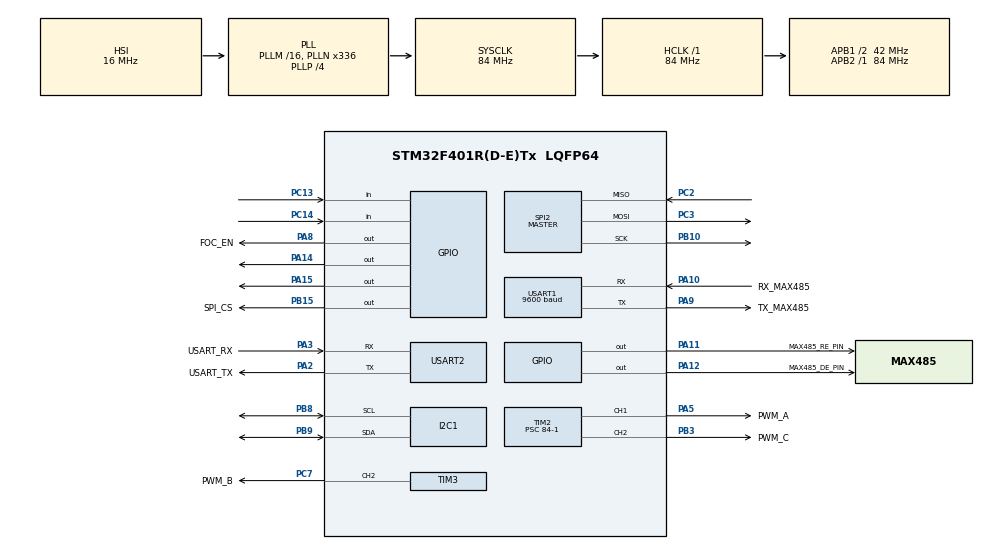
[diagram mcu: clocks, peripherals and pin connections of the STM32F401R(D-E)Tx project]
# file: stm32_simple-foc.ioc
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Mcu.Family=STM32F4
Mcu.Name=STM32F401R(D-E)Tx
Mcu.Package=LQFP64
NVIC.PriorityGroup=NVIC_PRIORITYGROUP_4
NVIC.TIM4_IRQn=true\:0\:0\:false\:false\:true\:true\:true\:true
NVIC.USART1_IRQn=true\:0\:0\:false\:false\:true\:true\:true\:true
PA10.GPIO_Label=RX_MAX485
PA10.Mode=Asynchronous
PA10.Signal=USART1_RX
PA11.GPIO_Label=MAX485_RE_PIN
PA11.Signal=GPIO_Output
PA12.GPIO_Label=MAX485_DE_PIN
PA12.Signal=GPIO_Output
PA14.Signal=GPIO_Output
PA15.Signal=GPIO_Output
PA2.GPIO_Label=USART_TX
PA2.GPIO_Mode=GPIO_MODE_AF_PP
PA2.GPIO_PuPd=GPIO_NOPULL
PA2.GPIO_Speed=GPIO_SPEED_FREQ_LOW
PA2.Mode=Asynchronous
PA2.Signal=USART2_TX
PA3.GPIO_Label=USART_RX
PA3.GPIO_Mode=GPIO_MODE_AF_PP
PA3.GPIO_PuPd=GPIO_NOPULL
PA3.GPIO_Speed=GPIO_SPEED_FREQ_LOW
PA3.Mode=Asynchronous
PA3.Signal=USART2_RX
PA5.GPIO_Label=PWM_A
PA5.Signal=S_TIM2_CH1_ETR
PA8.GPIO_Label=FOC_EN
PA8.Signal=GPIO_Output
PA9.GPIO_Label=TX_MAX485
PA9.Mode=Asynchronous
PA9.Signal=USART1_TX
PB10.Mode=Full_Duplex_Master
PB10.Signal=SPI2_SCK
PB15.GPIO_Label=SPI_CS
PB15.PinState=GPIO_PIN_SET
PB15.Signal=GPIO_Output
PB3.GPIO_Label=PWM_C
PB3.Signal=S_TIM2_CH2
PB8.Mode=I2C
PB8.Signal=I2C1_SCL
PB9.Mode=I2C
PB9.Signal=I2C1_SDA
PC13-ANTI_TAMP.GPIO_PuPd=GPIO_PULLUP
PC13-ANTI_TAMP.Signal=GPIO_Input
PC14-OSC32_IN.Signal=GPIO_Input
PC15-OSC32_OUT.Signal=RCC_OSC32_OUT
PC2.Mode=Full_Duplex_Master
PC2.Signal=SPI2_MISO
PC3.Mode=Full_Duplex_Master
PC3.Signal=SPI2_MOSI
PC7.GPIO_Label=PWM_B
PC7.Signal=S_TIM3_CH2
PH0\ -\ OSC_IN.Mode=HSE-External-Clock-Source
PH0\ -\ OSC_IN.Signal=RCC_OSC_IN
PH1\ -\ OSC_OUT.Mode=HSE-External-Clock-Source
PH1\ -\ OSC_OUT.Signal=RCC_OSC_OUT
ProjectManager.HeapSize=0x200
ProjectManager.StackSize=0x400
ProjectManager.TargetToolchain=STM32CubeIDE
RCC.48MHZClocksFreq_Value=48000000
RCC.AHBFreq_Value=84000000
RCC.APB1CLKDivider=RCC_HCLK_DIV2
RCC.APB1Freq_Value=42000000
RCC.APB1TimFreq_Value=84000000
RCC.APB2Freq_Value=84000000
RCC.APB2TimFreq_Value=84000000
RCC.CortexFreq_Value=84000000
RCC.HCLKFreq_Value=84000000
RCC.HSE_VALUE=8000000
RCC.HSI_VALUE=16000000
RCC.LSE_VALUE=32768
RCC.PLLN=336
RCC.PLLP=RCC_PLLP_DIV4
RCC.PLLQ=7
RCC.SYSCLKFreq_VALUE=84000000
RCC.SYSCLKSource=RCC_SYSCLKSOURCE_PLLCLK
RCC.VCOOutputFreq_Value=336000000
SH.S_TIM2_CH1_ETR.0=TIM2_CH1,PWM Generation1 CH1
SH.S_TIM2_CH2.0=TIM2_CH2,PWM Generation2 CH2
SH.S_TIM3_CH2.0=TIM3_CH2,PWM Generation2 CH2
SPI2.CLKPhase=SPI_PHASE_2EDGE
SPI2.DataSize=SPI_DATASIZE_16BIT
SPI2.Direction=SPI_DIRECTION_2LINES
SPI2.Mode=SPI_MODE_MASTER
SPI2.VirtualType=VM_MASTER
TIM1.Period=0xffff-1
TIM1.Prescaler=84-1
TIM2.Channel-PWM\ Generation1\ CH1=TIM_CHANNEL_1
TIM2.Channel-PWM\ Generation2\ CH2=TIM_CHANNEL_2
TIM2.CounterMode=TIM_COUNTERMODE_UP
TIM2.Period=40-1
TIM2.Prescaler=84-1
TIM3.Channel-PWM\ Generation2\ CH2=TIM_CHANNEL_2
TIM3.CounterMode=TIM_COUNTERMODE_UP
TIM3.Period=40-1
TIM3.Prescaler=84-1
TIM4.Period=400-1
TIM4.Prescaler=84-1
USART1.BaudRate=9600
USART1.VirtualMode=VM_ASYNC
USART2.VirtualMode=VM_ASYNC
VP_TIM1_VS_ClockSourceINT.Mode=Internal
VP_TIM2_VS_ClockSourceINT.Mode=Internal
VP_TIM3_VS_ClockSourceINT.Mode=Internal
VP_TIM4_VS_ClockSourceINT.Mode=Internal
board=NUCLEO-F401RE

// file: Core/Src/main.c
/* USER CODE BEGIN Header */
/**
  ******************************************************************************
  * @file           : main.c
  * @brief          : Main program body
  ******************************************************************************
  * @attention
  *
  * Copyright (c) 2025 STMicroelectronics.
  * All rights reserved.
  *
  * This software is licensed under terms that can be found in the LICENSE file
  * in the root directory of this software component.
  * If no LICENSE file comes with this software, it is provided AS-IS.
  *
  ******************************************************************************
  */
/* USER CODE END Header */
#include "main.h"

/* USER CODE BEGIN Includes */
#include "bldc_driver.h"
#include "bldc_motor.h"
#include "as5048a.h"
#include "ssd1306.h"
#include "ssd1306_fonts.h"

#include <stdio.h>
#include <string.h>
#include <stdbool.h>
/* USER CODE END Includes */

/* USER CODE BEGIN PD */
unsigned long timer_counter = 0;
float speed;
/* USER CODE END PD */

I2C_HandleTypeDef hi2c1;

SPI_HandleTypeDef hspi2;

TIM_HandleTypeDef htim1;
TIM_HandleTypeDef htim2;
TIM_HandleTypeDef htim3;
TIM_HandleTypeDef htim4;

UART_HandleTypeDef huart1;
UART_HandleTypeDef huart2;

/* USER CODE BEGIN PV */

char uart_buffer[128];
float p;
uint8_t RxData[8];
uint8_t TxData[8];
uint16_t data;
char dta[100];
char s[100];
char v[100];
float step = 1.0;
float f_spd;

bool is_stopping = false;
/* USER CODE END PV */

void SystemClock_Config(void);
static void MX_GPIO_Init(void);
static void MX_USART2_UART_Init(void);
static void MX_TIM2_Init(void);
static void MX_TIM3_Init(void);
static void MX_SPI2_Init(void);
static void MX_TIM4_Init(void);
static void MX_TIM1_Init(void);
static void MX_I2C1_Init(void);
static void MX_USART1_UART_Init(void);

/* USER CODE BEGIN 0 */
int ButtonPressed(GPIO_TypeDef* GPIOx, uint16_t GPIO_Pin) {
   if (HAL_GPIO_ReadPin(GPIOx, GPIO_Pin) == GPIO_PIN_RESET) {
       HAL_Delay(50);
       if (HAL_GPIO_ReadPin(GPIOx, GPIO_Pin) == GPIO_PIN_RESET) {
           return 1;
       }
   }
   return 0;
}

void MAX485_EnableTransmit(){
	HAL_GPIO_WritePin(MAX485_DE_PIN_GPIO_Port,MAX485_DE_PIN_Pin, GPIO_PIN_SET);
	HAL_GPIO_WritePin(MAX485_RE_PIN_GPIO_Port,MAX485_RE_PIN_Pin, GPIO_PIN_SET);
}

void MAX485_EnableRecieve(){
	HAL_GPIO_WritePin(MAX485_DE_PIN_GPIO_Port,MAX485_DE_PIN_Pin, GPIO_PIN_RESET);
	HAL_GPIO_WritePin(MAX485_RE_PIN_GPIO_Port,MAX485_RE_PIN_Pin, GPIO_PIN_RESET);
}

void HAL_UARTEx_RxEventCallback(UART_HandleTypeDef *huart, uint16_t Size) {
            memcpy(TxData, RxData, Size);
            MAX485_EnableTransmit();
            HAL_UART_Transmit_IT(&huart1, TxData,8);

            data = RxData[4] << 8 | RxData[5];
    }

void HAL_UART_TxCpltCallback(UART_HandleTypeDef *huart) {
    if (huart->Instance == USART1) {
        MAX485_EnableRecieve();
        HAL_UARTEx_ReceiveToIdle_IT(&huart1, RxData, sizeof(RxData));
    }
}

/* USER CODE END 0 */

int main(void)
{

  /* MCU Configuration--------------------------------------------------------*/

  /* Reset of all peripherals, Initializes the Flash interface and the Systick. */
  HAL_Init();

  /* Configure the system clock */
  SystemClock_Config();

  /* Initialize all configured peripherals */
  MX_GPIO_Init();
  MX_USART2_UART_Init();
  MX_TIM2_Init();
  MX_TIM3_Init();
  MX_SPI2_Init();
  MX_TIM4_Init();
  MX_TIM1_Init();
  MX_I2C1_Init();
  MX_USART1_UART_Init();
  /* USER CODE BEGIN 2 */
  	  MAX485_EnableRecieve();
  	  HAL_UARTEx_ReceiveToIdle_IT(&huart1, RxData, 8);
	  ssd1306_Init();
	  ssd1306_Fill(Black);

  /* Magnetic encoder initialize.
   *
   * Parameters:
   * - SPI instance.
   * - SPI CS GPIO port.
   * - SPI CS GPIO pin.
   */

  as5048a_init(&hspi2, SPI_CS_GPIO_Port, SPI_CS_Pin);

  /* BLDC driver initialize.
   *
   * Parameters:
   * - Phrase A timer instance.
   * - Phrase A timer channel.
   * - Phrase B timer instance.
   * - Phrase B timer channel.
   * - Phrase C timer instance.
   * - Phrase C timer channel.
   * - FOC enable GPIO port.
   * - FOC enable GPIO pin.
   * - Voltage supply for driver.
   * - Voltage limit for driver (Use half of the supply voltage for open-loop
   *   control).
   */

  driver_init(&htim2,
              TIM_CHANNEL_1,
              &htim3,
              TIM_CHANNEL_2,
              &htim2,
              TIM_CHANNEL_2,
              FOC_EN_GPIO_Port,
              FOC_EN_Pin,
              20.0f,
              20.0f);

  /* Open-loop BLDC motor control initialize.
   *
   * Parameters:
   * - Pole pairs.
   * - Motor voltage limit (Should be half of the driver voltage limit).
   */

bldc_open_loop_init(7, 10.0f);

  /* Closed-loop BLDC motor velocity control initialize.
   *
   * Parameters:
   * - Pole pairs.
   * - Sensor aligning phrase voltage limit.
   * - Sensor aligning phrase time.
   * - Low pass filter structure.
   * - PID control structure
   * - Motor voltage limit.
//	*/
//  bldc_vel_ctrl_init(7,
//                     5.0f,
//                     5.0f,
//                     (struct lpf_s){.tf = 0.00001f},
//                     (struct pid_s){
//                       .p = 5.0f,
//                       .i = 0.0f,
//                       .d = 0.0f,
//                       .ramp = 3000.0f,
//                       .limit = 20.0f
//                     },
//                     20);

  /* Target speed. */

//  speed = 20.0f;

  /* Initialize FOC. */

  foc_init();

  /* Start timers. */

  HAL_TIM_Base_Start(&htim1);
  HAL_TIM_Base_Start_IT(&htim4);

  /* USER CODE END 2 */

  /* Infinite loop */
  /* USER CODE BEGIN WHILE */
  while (1)
{

	  if (is_stopping) {
		  ssd1306_Fill(Black);
		  ssd1306_SetCursor(10,10);
		  ssd1306_WriteString("EMERGENCY" , Font_11x18, White);
		  ssd1306_SetCursor(10,40);
		  ssd1306_WriteString("STOP" , Font_11x18, White);
		  ssd1306_UpdateScreen();
	  }

	  else {
		  	ssd1306_Fill(Black);
			sprintf(v , "VEL: %.2f rad/s" , get_vel());
			sprintf(s , "ANG: %.2f rad", get_angle());
			sprintf(dta, "VEL_TARGET: %d" , data);
			ssd1306_SetCursor(10,10);
			ssd1306_WriteString(s , Font_7x10, White);
			ssd1306_SetCursor(10,30);
			ssd1306_WriteString(v, Font_7x10, White);
			ssd1306_SetCursor(10,50);
			ssd1306_WriteString(dta, Font_7x10, White);
			ssd1306_UpdateScreen();
	  }

      f_spd = (float) data;

      if (ButtonPressed(GPIOC, GPIO_PIN_13)) {
    	  speed = 0.0f;
    	  is_stopping = !is_stopping;
    	  HAL_GPIO_WritePin(GPIOA, GPIO_PIN_13, GPIO_PIN_RESET);
    	  HAL_GPIO_WritePin(GPIOA, GPIO_PIN_14, GPIO_PIN_RESET);
      }

	  while (speed != f_spd && !is_stopping) {

	      if (speed < f_spd) {

	          speed += step;
	          HAL_GPIO_TogglePin(GPIOA, GPIO_PIN_15);

	          if (speed > f_spd)
	        	  speed = f_spd;

	      }

	      else if (speed > f_spd) {

	          speed -= step;
	          HAL_GPIO_TogglePin(GPIOA, GPIO_PIN_14);

	          if (speed < data)
	        	  speed = f_spd;

	      }

	      HAL_Delay(100);
	  }

      HAL_GPIO_WritePin(GPIOA, GPIO_PIN_13, GPIO_PIN_RESET);
      HAL_GPIO_WritePin(GPIOA, GPIO_PIN_14, GPIO_PIN_RESET);

    /* USER CODE END WHILE */

  }
}

void SystemClock_Config(void)
{
  RCC_OscInitTypeDef RCC_OscInitStruct = {0};
  RCC_ClkInitTypeDef RCC_ClkInitStruct = {0};

  /** Configure the main internal regulator output voltage
  */
  __HAL_RCC_PWR_CLK_ENABLE();
  __HAL_PWR_VOLTAGESCALING_CONFIG(PWR_REGULATOR_VOLTAGE_SCALE2);

  /** Initializes the RCC Oscillators according to the specified parameters
  * in the RCC_OscInitTypeDef structure.
  */
  RCC_OscInitStruct.OscillatorType = RCC_OSCILLATORTYPE_HSI;
  RCC_OscInitStruct.HSIState = RCC_HSI_ON;
  RCC_OscInitStruct.HSICalibrationValue = RCC_HSICALIBRATION_DEFAULT;
  RCC_OscInitStruct.PLL.PLLState = RCC_PLL_ON;
  RCC_OscInitStruct.PLL.PLLSource = RCC_PLLSOURCE_HSI;
  RCC_OscInitStruct.PLL.PLLM = 16;
  RCC_OscInitStruct.PLL.PLLN = 336;
  RCC_OscInitStruct.PLL.PLLP = RCC_PLLP_DIV4;
  RCC_OscInitStruct.PLL.PLLQ = 7;
  if (HAL_RCC_OscConfig(&RCC_OscInitStruct) != HAL_OK)
  {
    Error_Handler();
  }

  /** Initializes the CPU, AHB and APB buses clocks
  */
  RCC_ClkInitStruct.ClockType = RCC_CLOCKTYPE_HCLK|RCC_CLOCKTYPE_SYSCLK
                              |RCC_CLOCKTYPE_PCLK1|RCC_CLOCKTYPE_PCLK2;
  RCC_ClkInitStruct.SYSCLKSource = RCC_SYSCLKSOURCE_PLLCLK;
  RCC_ClkInitStruct.AHBCLKDivider = RCC_SYSCLK_DIV1;
  RCC_ClkInitStruct.APB1CLKDivider = RCC_HCLK_DIV2;
  RCC_ClkInitStruct.APB2CLKDivider = RCC_HCLK_DIV1;

  if (HAL_RCC_ClockConfig(&RCC_ClkInitStruct, FLASH_LATENCY_2) != HAL_OK)
  {
    Error_Handler();
  }
}

static void MX_I2C1_Init(void)
{

  hi2c1.Instance = I2C1;
  hi2c1.Init.ClockSpeed = 100000;
  hi2c1.Init.DutyCycle = I2C_DUTYCYCLE_2;
  hi2c1.Init.OwnAddress1 = 0;
  hi2c1.Init.AddressingMode = I2C_ADDRESSINGMODE_7BIT;
  hi2c1.Init.DualAddressMode = I2C_DUALADDRESS_DISABLE;
  hi2c1.Init.OwnAddress2 = 0;
  hi2c1.Init.GeneralCallMode = I2C_GENERALCALL_DISABLE;
  hi2c1.Init.NoStretchMode = I2C_NOSTRETCH_DISABLE;
  if (HAL_I2C_Init(&hi2c1) != HAL_OK)
  {
    Error_Handler();
  }

}

static void MX_SPI2_Init(void)
{

  /* SPI2 parameter configuration*/
  hspi2.Instance = SPI2;
  hspi2.Init.Mode = SPI_MODE_MASTER;
  hspi2.Init.Direction = SPI_DIRECTION_2LINES;
  hspi2.Init.DataSize = SPI_DATASIZE_16BIT;
  hspi2.Init.CLKPolarity = SPI_POLARITY_LOW;
  hspi2.Init.CLKPhase = SPI_PHASE_2EDGE;
  hspi2.Init.NSS = SPI_NSS_SOFT;
  hspi2.Init.BaudRatePrescaler = SPI_BAUDRATEPRESCALER_2;
  hspi2.Init.FirstBit = SPI_FIRSTBIT_MSB;
  hspi2.Init.TIMode = SPI_TIMODE_DISABLE;
  hspi2.Init.CRCCalculation = SPI_CRCCALCULATION_DISABLE;
  hspi2.Init.CRCPolynomial = 10;
  if (HAL_SPI_Init(&hspi2) != HAL_OK)
  {
    Error_Handler();
  }

}

static void MX_TIM1_Init(void)
{

  TIM_ClockConfigTypeDef sClockSourceConfig = {0};
  TIM_MasterConfigTypeDef sMasterConfig = {0};

  htim1.Instance = TIM1;
  htim1.Init.Prescaler = 84-1;
  htim1.Init.CounterMode = TIM_COUNTERMODE_UP;
  htim1.Init.Period = 0xffff-1;
  htim1.Init.ClockDivision = TIM_CLOCKDIVISION_DIV1;
  htim1.Init.RepetitionCounter = 0;
  htim1.Init.AutoReloadPreload = TIM_AUTORELOAD_PRELOAD_DISABLE;
  if (HAL_TIM_Base_Init(&htim1) != HAL_OK)
  {
    Error_Handler();
  }
  sClockSourceConfig.ClockSource = TIM_CLOCKSOURCE_INTERNAL;
  if (HAL_TIM_ConfigClockSource(&htim1, &sClockSourceConfig) != HAL_OK)
  {
    Error_Handler();
  }
  sMasterConfig.MasterOutputTrigger = TIM_TRGO_RESET;
  sMasterConfig.MasterSlaveMode = TIM_MASTERSLAVEMODE_DISABLE;
  if (HAL_TIMEx_MasterConfigSynchronization(&htim1, &sMasterConfig) != HAL_OK)
  {
    Error_Handler();
  }

}

static void MX_TIM2_Init(void)
{

  TIM_ClockConfigTypeDef sClockSourceConfig = {0};
  TIM_MasterConfigTypeDef sMasterConfig = {0};
  TIM_OC_InitTypeDef sConfigOC = {0};

  htim2.Instance = TIM2;
  htim2.Init.Prescaler = 84-1;
  htim2.Init.CounterMode = TIM_COUNTERMODE_UP;
  htim2.Init.Period = 40-1;
  htim2.Init.ClockDivision = TIM_CLOCKDIVISION_DIV1;
  htim2.Init.AutoReloadPreload = TIM_AUTORELOAD_PRELOAD_DISABLE;
  if (HAL_TIM_Base_Init(&htim2) != HAL_OK)
  {
    Error_Handler();
  }
  sClockSourceConfig.ClockSource = TIM_CLOCKSOURCE_INTERNAL;
  if (HAL_TIM_ConfigClockSource(&htim2, &sClockSourceConfig) != HAL_OK)
  {
    Error_Handler();
  }
  if (HAL_TIM_PWM_Init(&htim2) != HAL_OK)
  {
    Error_Handler();
  }
  sMasterConfig.MasterOutputTrigger = TIM_TRGO_RESET;
  sMasterConfig.MasterSlaveMode = TIM_MASTERSLAVEMODE_DISABLE;
  if (HAL_TIMEx_MasterConfigSynchronization(&htim2, &sMasterConfig) != HAL_OK)
  {
    Error_Handler();
  }
  sConfigOC.OCMode = TIM_OCMODE_PWM1;
  sConfigOC.Pulse = 0;
  sConfigOC.OCPolarity = TIM_OCPOLARITY_HIGH;
  sConfigOC.OCFastMode = TIM_OCFAST_DISABLE;
  if (HAL_TIM_PWM_ConfigChannel(&htim2, &sConfigOC, TIM_CHANNEL_1) != HAL_OK)
  {
    Error_Handler();
  }
  if (HAL_TIM_PWM_ConfigChannel(&htim2, &sConfigOC, TIM_CHANNEL_2) != HAL_OK)
  {
    Error_Handler();
  }
  HAL_TIM_MspPostInit(&htim2);

}

static void MX_TIM3_Init(void)
{

  TIM_ClockConfigTypeDef sClockSourceConfig = {0};
  TIM_MasterConfigTypeDef sMasterConfig = {0};
  TIM_OC_InitTypeDef sConfigOC = {0};

  htim3.Instance = TIM3;
  htim3.Init.Prescaler = 84-1;
  htim3.Init.CounterMode = TIM_COUNTERMODE_UP;
  htim3.Init.Period = 40-1;
  htim3.Init.ClockDivision = TIM_CLOCKDIVISION_DIV1;
  htim3.Init.AutoReloadPreload = TIM_AUTORELOAD_PRELOAD_DISABLE;
  if (HAL_TIM_Base_Init(&htim3) != HAL_OK)
  {
    Error_Handler();
  }
  sClockSourceConfig.ClockSource = TIM_CLOCKSOURCE_INTERNAL;
  if (HAL_TIM_ConfigClockSource(&htim3, &sClockSourceConfig) != HAL_OK)
  {
    Error_Handler();
  }
  if (HAL_TIM_PWM_Init(&htim3) != HAL_OK)
  {
    Error_Handler();
  }
  sMasterConfig.MasterOutputTrigger = TIM_TRGO_RESET;
  sMasterConfig.MasterSlaveMode = TIM_MASTERSLAVEMODE_DISABLE;
  if (HAL_TIMEx_MasterConfigSynchronization(&htim3, &sMasterConfig) != HAL_OK)
  {
    Error_Handler();
  }
  sConfigOC.OCMode = TIM_OCMODE_PWM1;
  sConfigOC.Pulse = 0;
  sConfigOC.OCPolarity = TIM_OCPOLARITY_HIGH;
  sConfigOC.OCFastMode = TIM_OCFAST_DISABLE;
  if (HAL_TIM_PWM_ConfigChannel(&htim3, &sConfigOC, TIM_CHANNEL_2) != HAL_OK)
  {
    Error_Handler();
  }
  HAL_TIM_MspPostInit(&htim3);

}

static void MX_TIM4_Init(void)
{

  TIM_ClockConfigTypeDef sClockSourceConfig = {0};
  TIM_MasterConfigTypeDef sMasterConfig = {0};

  htim4.Instance = TIM4;
  htim4.Init.Prescaler = 84-1;
  htim4.Init.CounterMode = TIM_COUNTERMODE_UP;
  htim4.Init.Period = 400-1;
  htim4.Init.ClockDivision = TIM_CLOCKDIVISION_DIV1;
  htim4.Init.AutoReloadPreload = TIM_AUTORELOAD_PRELOAD_DISABLE;
  if (HAL_TIM_Base_Init(&htim4) != HAL_OK)
  {
    Error_Handler();
  }
  sClockSourceConfig.ClockSource = TIM_CLOCKSOURCE_INTERNAL;
  if (HAL_TIM_ConfigClockSource(&htim4, &sClockSourceConfig) != HAL_OK)
  {
    Error_Handler();
  }
  sMasterConfig.MasterOutputTrigger = TIM_TRGO_RESET;
  sMasterConfig.MasterSlaveMode = TIM_MASTERSLAVEMODE_DISABLE;
  if (HAL_TIMEx_MasterConfigSynchronization(&htim4, &sMasterConfig) != HAL_OK)
  {
    Error_Handler();
  }

}

static void MX_USART1_UART_Init(void)
{

  huart1.Instance = USART1;
  huart1.Init.BaudRate = 9600;
  huart1.Init.WordLength = UART_WORDLENGTH_8B;
  huart1.Init.StopBits = UART_STOPBITS_1;
  huart1.Init.Parity = UART_PARITY_NONE;
  huart1.Init.Mode = UART_MODE_TX_RX;
  huart1.Init.HwFlowCtl = UART_HWCONTROL_NONE;
  huart1.Init.OverSampling = UART_OVERSAMPLING_16;
  if (HAL_UART_Init(&huart1) != HAL_OK)
  {
    Error_Handler();
  }

}

static void MX_USART2_UART_Init(void)
{

  huart2.Instance = USART2;
  huart2.Init.BaudRate = 115200;
  huart2.Init.WordLength = UART_WORDLENGTH_8B;
  huart2.Init.StopBits = UART_STOPBITS_1;
  huart2.Init.Parity = UART_PARITY_NONE;
  huart2.Init.Mode = UART_MODE_TX_RX;
  huart2.Init.HwFlowCtl = UART_HWCONTROL_NONE;
  huart2.Init.OverSampling = UART_OVERSAMPLING_16;
  if (HAL_UART_Init(&huart2) != HAL_OK)
  {
    Error_Handler();
  }

}

static void MX_GPIO_Init(void)
{
  GPIO_InitTypeDef GPIO_InitStruct = {0};

  /* GPIO Ports Clock Enable */
  __HAL_RCC_GPIOC_CLK_ENABLE();
  __HAL_RCC_GPIOH_CLK_ENABLE();
  __HAL_RCC_GPIOA_CLK_ENABLE();
  __HAL_RCC_GPIOB_CLK_ENABLE();

  /*Configure GPIO pin Output Level */
  HAL_GPIO_WritePin(SPI_CS_GPIO_Port, SPI_CS_Pin, GPIO_PIN_SET);

  /*Configure GPIO pin Output Level */
  HAL_GPIO_WritePin(GPIOA, FOC_EN_Pin|MAX485_RE_PIN_Pin|MAX485_DE_PIN_Pin|GPIO_PIN_14
                          |GPIO_PIN_15, GPIO_PIN_RESET);

  /*Configure GPIO pin : PC13 */
  GPIO_InitStruct.Pin = GPIO_PIN_13;
  GPIO_InitStruct.Mode = GPIO_MODE_INPUT;
  GPIO_InitStruct.Pull = GPIO_PULLUP;
  HAL_GPIO_Init(GPIOC, &GPIO_InitStruct);

  /*Configure GPIO pin : PC14 */
  GPIO_InitStruct.Pin = GPIO_PIN_14;
  GPIO_InitStruct.Mode = GPIO_MODE_INPUT;
  GPIO_InitStruct.Pull = GPIO_NOPULL;
  HAL_GPIO_Init(GPIOC, &GPIO_InitStruct);

  /*Configure GPIO pin : SPI_CS_Pin */
  GPIO_InitStruct.Pin = SPI_CS_Pin;
  GPIO_InitStruct.Mode = GPIO_MODE_OUTPUT_PP;
  GPIO_InitStruct.Pull = GPIO_NOPULL;
  GPIO_InitStruct.Speed = GPIO_SPEED_FREQ_LOW;
  HAL_GPIO_Init(SPI_CS_GPIO_Port, &GPIO_InitStruct);

  /*Configure GPIO pins : FOC_EN_Pin MAX485_RE_PIN_Pin MAX485_DE_PIN_Pin PA14
                           PA15 */
  GPIO_InitStruct.Pin = FOC_EN_Pin|MAX485_RE_PIN_Pin|MAX485_DE_PIN_Pin|GPIO_PIN_14
                          |GPIO_PIN_15;
  GPIO_InitStruct.Mode = GPIO_MODE_OUTPUT_PP;
  GPIO_InitStruct.Pull = GPIO_NOPULL;
  GPIO_InitStruct.Speed = GPIO_SPEED_FREQ_LOW;
  HAL_GPIO_Init(GPIOA, &GPIO_InitStruct);

}

/* USER CODE BEGIN 4 */
void HAL_TIM_PeriodElapsedCallback(TIM_HandleTypeDef *htim)
{
  /* USER CODE BEGIN Callback 0 */

  /* USER CODE END Callback 0 */
  if (htim->Instance == TIM4)
  {
    timer_counter = __HAL_TIM_GET_COUNTER(&htim1);
    __HAL_TIM_SET_COUNTER(&htim1, 0);

    const float dt_while = (float)timer_counter * 1e-6f;

    loop_foc();

    /* Drive motor
     *
     * Parameters:
     * - Target speed.
     * - Delta time.
     */

    bldc_move(speed, dt_while);
  }

  /* USER CODE END Callback 1 */
}

/* USER CODE END 4 */

void Error_Handler(void)
{
  __disable_irq();
  while (1) { }
}
